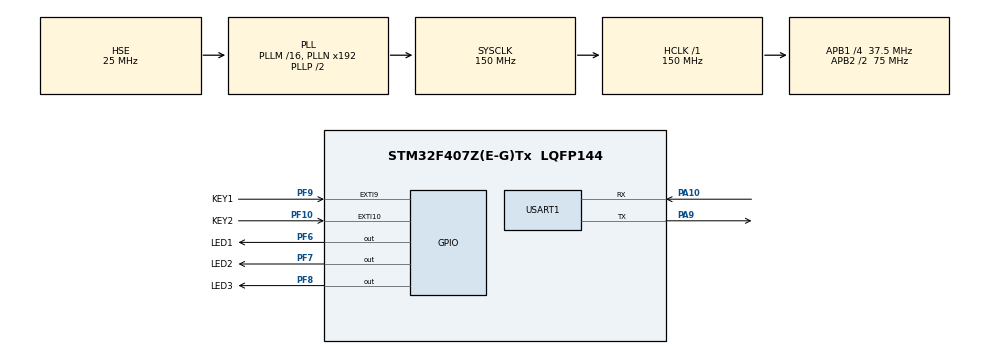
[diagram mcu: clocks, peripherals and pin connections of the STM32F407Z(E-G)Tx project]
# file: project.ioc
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Mcu.Family=STM32F4
Mcu.Name=STM32F407Z(E-G)Tx
Mcu.Package=LQFP144
NVIC.EXTI15_10_IRQn=true\:1\:1\:true\:true\:true\:2\:true\:true\:true
NVIC.EXTI9_5_IRQn=true\:1\:0\:true\:true\:true\:1\:true\:true\:true
NVIC.PriorityGroup=NVIC_PRIORITYGROUP_3
NVIC.RTC_WKUP_IRQn=true\:0\:0\:false\:false\:true\:true\:true\:true
NVIC.USART1_IRQn=true\:0\:0\:false\:true\:true\:3\:true\:true\:true
PA10.Mode=Asynchronous
PA10.Signal=USART1_RX
PA9.Mode=Asynchronous
PA9.Signal=USART1_TX
PC14-OSC32_IN.Mode=LSE-External-Oscillator
PC14-OSC32_IN.Signal=RCC_OSC32_IN
PC15-OSC32_OUT.Mode=LSE-External-Oscillator
PC15-OSC32_OUT.Signal=RCC_OSC32_OUT
PF10.GPIO_Label=KEY2
PF10.GPIO_ModeDefaultEXTI=GPIO_MODE_IT_FALLING
PF10.GPIO_PuPd=GPIO_PULLUP
PF10.Signal=GPXTI10
PF6.GPIO_Label=LED1
PF6.Signal=GPIO_Output
PF7.GPIO_Label=LED2
PF7.Signal=GPIO_Output
PF8.GPIO_Label=LED3
PF8.Signal=GPIO_Output
PF9.GPIO_Label=KEY1
PF9.GPIO_ModeDefaultEXTI=GPIO_MODE_IT_FALLING
PF9.GPIO_PuPd=GPIO_PULLUP
PF9.Signal=GPXTI9
PH0-OSC_IN.Mode=HSE-External-Oscillator
PH0-OSC_IN.Signal=RCC_OSC_IN
PH1-OSC_OUT.Mode=HSE-External-Oscillator
PH1-OSC_OUT.Signal=RCC_OSC_OUT
ProjectManager.HeapSize=0x200
ProjectManager.StackSize=0x400
ProjectManager.TargetToolchain=STM32CubeIDE
RCC.48MHZClocksFreq_Value=75000000
RCC.AHBFreq_Value=150000000
RCC.APB1CLKDivider=RCC_HCLK_DIV4
RCC.APB1Freq_Value=37500000
RCC.APB1TimFreq_Value=75000000
RCC.APB2CLKDivider=RCC_HCLK_DIV2
RCC.APB2Freq_Value=75000000
RCC.APB2TimFreq_Value=150000000
RCC.CortexFreq_Value=150000000
RCC.HCLKFreq_Value=150000000
RCC.HSE_VALUE=25000000
RCC.HSI_VALUE=16000000
RCC.PLLSourceVirtual=RCC_PLLSOURCE_HSE
RCC.RCC_RTC_Clock_Source=RCC_RTCCLKSOURCE_LSE
RCC.SYSCLKFreq_VALUE=150000000
RCC.SYSCLKSource=RCC_SYSCLKSOURCE_PLLCLK
RCC.VCOOutputFreq_Value=300000000
USART1.VirtualMode=VM_ASYNC
VP_RTC_VS_RTC_Activate.Mode=RTC_Enabled
VP_RTC_VS_RTC_WakeUp_intern.Mode=WakeUp
board=custom

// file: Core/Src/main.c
/* USER CODE BEGIN Header */
/**
  ******************************************************************************
  * @file           : main.c
  * @brief          : Main program body
  ******************************************************************************
  * @attention
  *
  * Copyright (c) 2026 STMicroelectronics.
  * All rights reserved.
  *
  * This software is licensed under terms that can be found in the LICENSE file
  * in the root directory of this software component.
  * If no LICENSE file comes with this software, it is provided AS-IS.
  *
  ******************************************************************************
  */
/* USER CODE END Header */
#include "main.h"

/* USER CODE BEGIN Includes */
#include <stdio.h>

/* USER CODE END Includes */

RTC_HandleTypeDef hrtc;

UART_HandleTypeDef huart1;

void SystemClock_Config(void);
static void MX_GPIO_Init(void);
static void MX_USART1_UART_Init(void);
static void MX_RTC_Init(void);
static void MX_NVIC_Init(void);

/* USER CODE BEGIN 0 */

#ifdef __GNUC__
/* With GCC, small printf (option LD Linker->Libraries->Small printf
   set to 'Yes') calls __io_putchar() */
#define PUTCHAR_PROTOTYPE int __io_putchar(int ch)
#else
#define PUTCHAR_PROTOTYPE int fputc(int ch, FILE *f)
#endif /* __GNUC__ */

/**
  * @brief  Retargets the C library printf function to the USART.
  * @param  None
  * @retval None
  */
PUTCHAR_PROTOTYPE
{
    /* Place your implementation of fputc here */
    /* e.g. write a character to the USART1 and Loop until the end of transmission */

    /* Write a character to the USART */
    if(ch == '\n')
    {
        ch = '\r';
        HAL_UART_Transmit(&huart1, (uint8_t *)&ch, 1, 0xFFFF);
        ch = '\n';
        HAL_UART_Transmit(&huart1, (uint8_t *)&ch, 1, 0xFFFF);
    }else {
        HAL_UART_Transmit(&huart1, (uint8_t *)&ch, 1, 0xFFFF);
    }

    return ch;
}

void System_Information(void)
{
    printf("SYSCLK_Frequency = %d\n", (unsigned int)HAL_RCC_GetSysClockFreq());
    printf("HCLK_Frequency = %d\n", (unsigned int)HAL_RCC_GetHCLKFreq());
    printf("PCLK1_Frequency = %d\n", (unsigned int)HAL_RCC_GetPCLK1Freq());
    printf("PCLK2_Frequency = %d\n", (unsigned int)HAL_RCC_GetPCLK2Freq());
}

void KEY_Test(void)
{
    HAL_GPIO_WritePin(GPIOF, LED1_Pin|LED2_Pin|LED3_Pin, GPIO_PIN_SET);

    while(1)
    {
        if(HAL_GPIO_ReadPin(KEY1_GPIO_Port, KEY1_Pin) == GPIO_PIN_RESET)
        {
            HAL_GPIO_WritePin(LED1_GPIO_Port, LED1_Pin, GPIO_PIN_RESET);
        }
        else
        {
            HAL_GPIO_WritePin(LED1_GPIO_Port, LED1_Pin, GPIO_PIN_SET);
        }

        if(HAL_GPIO_ReadPin(KEY2_GPIO_Port, KEY2_Pin) == GPIO_PIN_RESET)
        {
            HAL_GPIO_WritePin(LED2_GPIO_Port, LED2_Pin, GPIO_PIN_RESET);
        }
        else
        {
            HAL_GPIO_WritePin(LED2_GPIO_Port, LED2_Pin, GPIO_PIN_SET);
        }
    }
}

void Bit_Banding_Test(void)
{
#define RAM_BASE       0x20000000
#define RAM_BB_BASE    0x22000000

#define Var_ResetBit_BB(VarAddr, BitNumber)   \
          (*(__IO uint32_t *) (RAM_BB_BASE | \
          ((VarAddr - RAM_BASE) << 5) | ((BitNumber) << 2)) = 0)

#define Var_SetBit_BB(VarAddr, BitNumber)     \
          (*(__IO uint32_t *) (RAM_BB_BASE | \
          ((VarAddr - RAM_BASE) << 5) | ((BitNumber) << 2)) = 1)

#define Var_GetBit_BB(VarAddr, BitNumber)     \
          (*(__IO uint32_t *) (RAM_BB_BASE | \
          ((VarAddr - RAM_BASE) << 5) | ((BitNumber) << 2)))

__IO unsigned int Var, VarAddr = 0, VarBitValue = 0;

    printf("Bit Banding Test Start ...\n");

    Var = 0x00005AA5;
    printf("(1) Var: %0X\n", Var);

    /* Get the variable address */
    VarAddr = (uint32_t)&Var;
    printf("(2) VarAddr: %0X\n", VarAddr);

    /* Modify variable bit using bit-band access */
    /* Modify Var variable bit 0 */
    Var_ResetBit_BB(VarAddr, 0);  /* Var = 0x00005AA4 */
    printf("(3) Var: %0X\n", Var);
    Var_SetBit_BB(VarAddr, 0);    /* Var = 0x00005AA5 */
    printf("(4) Var: %0X\n", Var);

    /* Modify Var variable bit 11 */
    Var_ResetBit_BB(VarAddr, 11);             /* Var = 0x000052A5 */
    printf("(5) Var: %0X\n", Var);
    /* Get Var variable bit 11 value */
    VarBitValue = Var_GetBit_BB(VarAddr, 11); /* VarBitValue = 0x0 */
    printf("(6) VarBitValue: %0X\n", VarBitValue);

    Var_SetBit_BB(VarAddr, 11);               /* Var = 0x00005AA5 */
    printf("(7) Var: %0X\n", Var);
    /* Get Var variable bit 11 value */
    VarBitValue = Var_GetBit_BB(VarAddr, 11); /* VarBitValue = 0x1 */
    printf("(8) VarBitValue: %0X\n", VarBitValue);
}

/* Private define ------------------------------------------------------------*/
#define SP_PROCESS_SIZE             0x200  /* Process stack size */
#define SP_PROCESS                  0x02   /* Process stack */
#define SP_MAIN                     0x00   /* Main stack */
#define THREAD_MODE_PRIVILEGED      0x00   /* Thread mode has privileged access */
#define THREAD_MODE_UNPRIVILEGED    0x01   /* Thread mode has unprivileged access */

/* Private macro -------------------------------------------------------------*/
#if defined ( __CC_ARM   )
__ASM void __SVC(void)
{
  SVC 0x01
  BX R14
}
#elif defined ( __ICCARM__ )
static __INLINE  void __SVC()                     { __ASM ("svc 0x01");}
#elif defined   (  __GNUC__  )
static __INLINE void __SVC()                      { __ASM volatile ("svc 0x01");}
#endif

/* Private variables ---------------------------------------------------------*/
__IO uint8_t PSPMemAlloc[SP_PROCESS_SIZE];

unsigned int  Get_Current_ThreadMode(void)
{
    /* Check Thread mode privilege status */
    if((__get_CONTROL() & 0x01) == THREAD_MODE_PRIVILEGED)
    {
        /* Thread mode has privileged access  */
        return THREAD_MODE_PRIVILEGED;
    }
    else
    {
        /* Thread mode has unprivileged access*/
        return THREAD_MODE_UNPRIVILEGED;
    }
}

unsigned int  Get_Current_Stack(void)
{
    if((__get_CONTROL() & 0x02) == SP_MAIN)
    {
        /* Main stack is used as the current stack */
        return SP_MAIN;
    }
    else
    {
        /* Process stack is used as the current stack */
        return SP_PROCESS;
    }
}

void Mode_Privilege_Test(void)
{
    __IO uint32_t Index;

    printf("Mode_Privilege_Test Start ...\n");

    /* Switch Thread mode Stack from Main to Process */
    /* Initialize memory reserved for Process Stack */
    for(Index = 0; Index < SP_PROCESS_SIZE; Index++)
    {
        PSPMemAlloc[Index] = 0x00;
    }
    printf("PSPMemAlloc address = 0x%0X\n", (unsigned int)PSPMemAlloc);

    printf("(1) CurrentStack = %d, ThreadMode = %d\n",
           Get_Current_Stack(), Get_Current_ThreadMode());

    /* Set Process stack value */
    __set_PSP((uint32_t)PSPMemAlloc + SP_PROCESS_SIZE);
    printf("(2) CurrentStack = %d, ThreadMode = %d\n",
           Get_Current_Stack(), Get_Current_ThreadMode());

    /* Select Process Stack as Thread mode Stack */
    __set_CONTROL(SP_PROCESS);
    printf("(3) CurrentStack = %d, ThreadMode = %d\n",
           Get_Current_Stack(), Get_Current_ThreadMode());

    /* Get the Thread mode stack used */
    if(Get_Current_Stack() == SP_MAIN)
    {
        printf("CurrentStack is Main Stack\n");
    }
    else
    {
        printf("CurrentStack is Process Stack\n");

        /* Get process stack pointer value */
        printf("PSPValue = 0x%0X\n", (unsigned int)__get_PSP());
    }

    /* Switch Thread mode from privileged to unprivileged */
    /* Thread mode has unprivileged access */
    __set_CONTROL(THREAD_MODE_UNPRIVILEGED | SP_PROCESS);
    /* Unprivileged access mainly affect ability to:
    - Use or not use certain instructions such as MSR fields
    - Access System Control Space (SCS) registers such as NVIC and SysTick */
    printf("(4) CurrentStack = %d, ThreadMode = %d\n",
           Get_Current_Stack(), Get_Current_ThreadMode());

    /* Switch back Thread mode from unprivileged to privileged */
    /* Try to switch back Thread mode to privileged (Not possible, this can be
    done only in Handler mode) */
    __set_CONTROL(THREAD_MODE_PRIVILEGED | SP_PROCESS);
    printf("(5) CurrentStack = %d, ThreadMode = %d\n",
           Get_Current_Stack(), Get_Current_ThreadMode());

    /* Generate a system call exception, and in the ISR switch back Thread mode
    to privileged */
    __SVC();
    printf("(6) CurrentStack = %d, ThreadMode = %d\n",
           Get_Current_Stack(), Get_Current_ThreadMode());

    /* Select Main Stack */
    __set_CONTROL(SP_MAIN);
    printf("(7) CurrentStack = %d, ThreadMode = %d\n",
           Get_Current_Stack(), Get_Current_ThreadMode());
}

uint8_t g_RxBuffer;

HAL_StatusTypeDef Uart_Start_IT_Receive_forComm(void)
{
    return HAL_UART_Receive_IT(&huart1, &g_RxBuffer, 1);
}

void HAL_UART_RxCpltCallback(UART_HandleTypeDef *huart)
{
    if(huart == &huart1)
    {
        int k;
        for(k = 0; k <10; k ++)
        {
            for(volatile int i = 3000000; i > 0; i --);
            printf("HAL_UART_RxCpltCallback called k: %d!\n", k);
        }

        Uart_Start_IT_Receive_forComm();
    }
}

static void RTC_SetAlarmInSeconds(uint32_t seconds_from_now)
{
  RTC_TimeTypeDef now = {0};
  RTC_DateTypeDef date = {0};

  /* 현재 시각 읽기(주의: Time 읽기 전에 Date도 같이 읽어 안정화) */
  HAL_RTC_GetTime(&hrtc, &now, RTC_FORMAT_BIN);
  HAL_RTC_GetDate(&hrtc, &date, RTC_FORMAT_BIN);

  uint32_t total = now.Hours * 3600U + now.Minutes * 60U + now.Seconds;
  total = (total + seconds_from_now) % (24U * 3600U);

  uint8_t ah = (uint8_t)(total / 3600U);
  uint8_t am = (uint8_t)((total % 3600U) / 60U);
  uint8_t as = (uint8_t)(total % 60U);

  /* 기존 알람 비활성화(재설정 시 안전) */
  HAL_RTC_DeactivateAlarm(&hrtc, RTC_ALARM_A);

  RTC_AlarmTypeDef sAlarm = {0};
  sAlarm.Alarm = RTC_ALARM_A;

  sAlarm.AlarmTime.Hours   = ah;
  sAlarm.AlarmTime.Minutes = am;
  sAlarm.AlarmTime.Seconds = as;
  sAlarm.AlarmTime.SubSeconds = 0;
  sAlarm.AlarmTime.DayLightSaving = RTC_DAYLIGHTSAVING_NONE;
  sAlarm.AlarmTime.StoreOperation = RTC_STOREOPERATION_RESET;

  /* 날짜/요일은 무시하고 “시:분:초 일치”만으로 울리게 */
  sAlarm.AlarmMask = RTC_ALARMMASK_DATEWEEKDAY;
  sAlarm.AlarmSubSecondMask = RTC_ALARMSUBSECONDMASK_ALL;

  /* 인터럽트가 필요 없으면 아래를 사용:     (단, 콜백은 안 옵니다) */
  HAL_RTC_SetAlarm(&hrtc, &sAlarm, RTC_FORMAT_BIN);
}

/* USER CODE END 0 */

int main(void)
{

  /* MCU Configuration--------------------------------------------------------*/

  /* Reset of all peripherals, Initializes the Flash interface and the Systick. */
  HAL_Init();

  /* Configure the system clock */
  SystemClock_Config();

  /* Initialize all configured peripherals */
  MX_GPIO_Init();
  MX_USART1_UART_Init();
  MX_RTC_Init();

  /* Initialize interrupts */
  MX_NVIC_Init();
  /* USER CODE BEGIN 2 */

  Uart_Start_IT_Receive_forComm();

  /* USER CODE END 2 */

  /* Infinite loop */
  /* USER CODE BEGIN WHILE */
  while (1)
  {
    printf("Hello World! - Mango ^)^\n");
    System_Information();

//    KEY_Test();
//    Bit_Banding_Test();
//    Mode_Privilege_Test();

    RTC_SetAlarmInSeconds(5);

    printf("before EnterSTOPMode\n");
    HAL_PWR_EnterSTOPMode(PWR_LOWPOWERREGULATOR_ON, PWR_STOPENTRY_WFI);

    /* Configure the system clock */
    SystemClock_Config();

    printf("after EnterSTOPMode\n");

    HAL_Delay(5000);

    /* USER CODE END WHILE */

  }
}

void SystemClock_Config(void)
{
  RCC_OscInitTypeDef RCC_OscInitStruct = {0};
  RCC_ClkInitTypeDef RCC_ClkInitStruct = {0};

  /** Configure the main internal regulator output voltage
  */
  __HAL_RCC_PWR_CLK_ENABLE();
  __HAL_PWR_VOLTAGESCALING_CONFIG(PWR_REGULATOR_VOLTAGE_SCALE1);

  /** Initializes the RCC Oscillators according to the specified parameters
  * in the RCC_OscInitTypeDef structure.
  */
  RCC_OscInitStruct.OscillatorType = RCC_OSCILLATORTYPE_HSE|RCC_OSCILLATORTYPE_LSE;
  RCC_OscInitStruct.HSEState = RCC_HSE_ON;
  RCC_OscInitStruct.LSEState = RCC_LSE_ON;
  RCC_OscInitStruct.PLL.PLLState = RCC_PLL_ON;
  RCC_OscInitStruct.PLL.PLLSource = RCC_PLLSOURCE_HSE;
  RCC_OscInitStruct.PLL.PLLM = 16;
  RCC_OscInitStruct.PLL.PLLN = 192;
  RCC_OscInitStruct.PLL.PLLP = RCC_PLLP_DIV2;
  RCC_OscInitStruct.PLL.PLLQ = 4;
  if (HAL_RCC_OscConfig(&RCC_OscInitStruct) != HAL_OK)
  {
    Error_Handler();
  }

  /** Initializes the CPU, AHB and APB buses clocks
  */
  RCC_ClkInitStruct.ClockType = RCC_CLOCKTYPE_HCLK|RCC_CLOCKTYPE_SYSCLK
                              |RCC_CLOCKTYPE_PCLK1|RCC_CLOCKTYPE_PCLK2;
  RCC_ClkInitStruct.SYSCLKSource = RCC_SYSCLKSOURCE_PLLCLK;
  RCC_ClkInitStruct.AHBCLKDivider = RCC_SYSCLK_DIV1;
  RCC_ClkInitStruct.APB1CLKDivider = RCC_HCLK_DIV4;
  RCC_ClkInitStruct.APB2CLKDivider = RCC_HCLK_DIV2;

  if (HAL_RCC_ClockConfig(&RCC_ClkInitStruct, FLASH_LATENCY_4) != HAL_OK)
  {
    Error_Handler();
  }
}

/**
  * @brief NVIC Configuration.
  * @retval None
  */
static void MX_NVIC_Init(void)
{
  /* EXTI9_5_IRQn interrupt configuration */
  HAL_NVIC_SetPriority(EXTI9_5_IRQn, 1, 0);
  HAL_NVIC_EnableIRQ(EXTI9_5_IRQn);
  /* EXTI15_10_IRQn interrupt configuration */
  HAL_NVIC_SetPriority(EXTI15_10_IRQn, 1, 1);
  HAL_NVIC_EnableIRQ(EXTI15_10_IRQn);
  /* USART1_IRQn interrupt configuration */
  HAL_NVIC_SetPriority(USART1_IRQn, 0, 0);
  HAL_NVIC_EnableIRQ(USART1_IRQn);
}

static void MX_RTC_Init(void)
{

  RTC_TimeTypeDef sTime = {0};
  RTC_DateTypeDef sDate = {0};

  /** Initialize RTC Only
  */
  hrtc.Instance = RTC;
  hrtc.Init.HourFormat = RTC_HOURFORMAT_24;
  hrtc.Init.AsynchPrediv = 127;
  hrtc.Init.SynchPrediv = 255;
  hrtc.Init.OutPut = RTC_OUTPUT_DISABLE;
  hrtc.Init.OutPutPolarity = RTC_OUTPUT_POLARITY_HIGH;
  hrtc.Init.OutPutType = RTC_OUTPUT_TYPE_OPENDRAIN;
  if (HAL_RTC_Init(&hrtc) != HAL_OK)
  {
    Error_Handler();
  }

  /** Initialize RTC and set the Time and Date
  */
  sTime.Hours = 0x0;
  sTime.Minutes = 0x0;
  sTime.Seconds = 0x0;
  sTime.DayLightSaving = RTC_DAYLIGHTSAVING_NONE;
  sTime.StoreOperation = RTC_STOREOPERATION_RESET;
  if (HAL_RTC_SetTime(&hrtc, &sTime, RTC_FORMAT_BCD) != HAL_OK)
  {
    Error_Handler();
  }
  sDate.WeekDay = RTC_WEEKDAY_MONDAY;
  sDate.Month = RTC_MONTH_JANUARY;
  sDate.Date = 0x1;
  sDate.Year = 0x0;

  if (HAL_RTC_SetDate(&hrtc, &sDate, RTC_FORMAT_BCD) != HAL_OK)
  {
    Error_Handler();
  }

  /** Enable the WakeUp
  */
  if (HAL_RTCEx_SetWakeUpTimer_IT(&hrtc, 0, RTC_WAKEUPCLOCK_RTCCLK_DIV16) != HAL_OK)
  {
    Error_Handler();
  }

}

static void MX_USART1_UART_Init(void)
{

  huart1.Instance = USART1;
  huart1.Init.BaudRate = 115200;
  huart1.Init.WordLength = UART_WORDLENGTH_8B;
  huart1.Init.StopBits = UART_STOPBITS_1;
  huart1.Init.Parity = UART_PARITY_NONE;
  huart1.Init.Mode = UART_MODE_TX_RX;
  huart1.Init.HwFlowCtl = UART_HWCONTROL_NONE;
  huart1.Init.OverSampling = UART_OVERSAMPLING_16;
  if (HAL_UART_Init(&huart1) != HAL_OK)
  {
    Error_Handler();
  }

}

static void MX_GPIO_Init(void)
{
  GPIO_InitTypeDef GPIO_InitStruct = {0};

  /* GPIO Ports Clock Enable */
  __HAL_RCC_GPIOC_CLK_ENABLE();
  __HAL_RCC_GPIOF_CLK_ENABLE();
  __HAL_RCC_GPIOH_CLK_ENABLE();
  __HAL_RCC_GPIOA_CLK_ENABLE();

  /*Configure GPIO pin Output Level */
  HAL_GPIO_WritePin(GPIOF, LED1_Pin|LED2_Pin|LED3_Pin, GPIO_PIN_RESET);

  /*Configure GPIO pins : LED1_Pin LED2_Pin LED3_Pin */
  GPIO_InitStruct.Pin = LED1_Pin|LED2_Pin|LED3_Pin;
  GPIO_InitStruct.Mode = GPIO_MODE_OUTPUT_PP;
  GPIO_InitStruct.Pull = GPIO_NOPULL;
  GPIO_InitStruct.Speed = GPIO_SPEED_FREQ_LOW;
  HAL_GPIO_Init(GPIOF, &GPIO_InitStruct);

  /*Configure GPIO pins : KEY1_Pin KEY2_Pin */
  GPIO_InitStruct.Pin = KEY1_Pin|KEY2_Pin;
  GPIO_InitStruct.Mode = GPIO_MODE_IT_FALLING;
  GPIO_InitStruct.Pull = GPIO_PULLUP;
  HAL_GPIO_Init(GPIOF, &GPIO_InitStruct);

}

void Error_Handler(void)
{
  __disable_irq();
  while (1)
  {
  }
}
